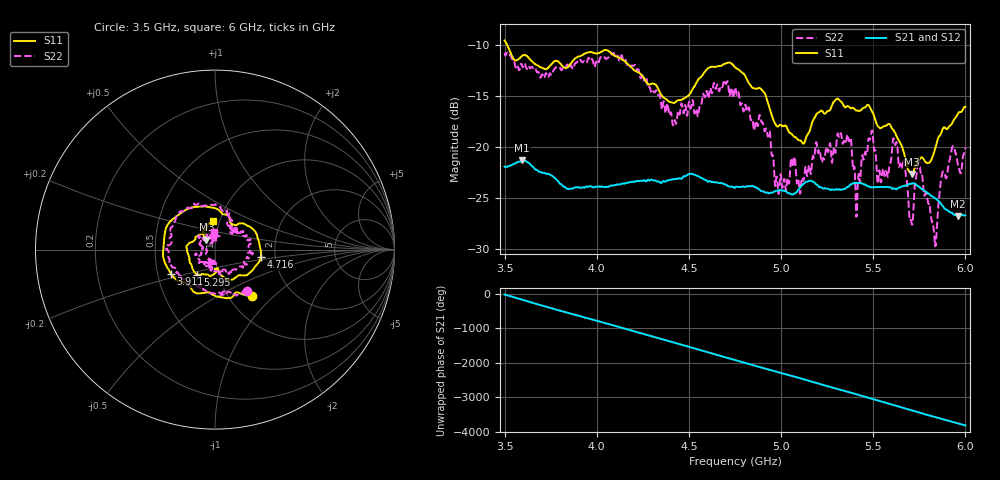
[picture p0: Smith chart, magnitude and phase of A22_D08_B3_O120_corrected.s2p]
! Created with skrf 1.9.0 (http://scikit-rf.org).
# Hz S RI R 50.0
!freq ReS11 ImS11 ReS21 ImS21 ReS12 ImS12 ReS22 ImS22
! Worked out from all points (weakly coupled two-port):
!   1601 points, 3.5 GHz to 6 GHz, reference 50 ohm
!   highest |S21| = -21.33 dB at 3.595 GHz (marker M1); lowest = -26.8 dB at 5.958 GHz (marker M2)
!   lowest |S11| = -22.7 dB at 5.709 GHz (marker M3), VSWR 1.16, Z = 45.1 + j5.05 ohm
!   |S11| at or under -10 dB: 3.514 GHz to end of sweep
!   |S22| runs from -29.8 to -10.8 dB; largest |S21 - S12| = 0.0011
!   S11 on the Smith chart (normalised r, x): 3.5 GHz: 1.28, -0.75; 3.911 GHz: 0.59, -0.17; 4.716 GHz: 1.68, -0.15; 5.295 GHz: 0.79, -0.23; 6 GHz: 0.93, +0.30
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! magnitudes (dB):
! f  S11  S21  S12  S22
! 3.5 GHz  -9.6  -21.9  -21.9  -10.8
! 3.595 GHz  -11.1  -21.3  -21.3  -12.1
! 3.911 GHz  -11.1  -24.0  -24.0  -11.5
! 3.917 GHz  -11.1  -24.0  -24.0  -11.6
! 4.334 GHz  -14.3  -23.4  -23.4  -14.9
! 4.716 GHz  -11.7  -23.9  -23.9  -14.3
! 4.75 GHz  -12.2  -24.0  -23.9  -14.2
! 4.93 GHz  -15.8  -24.5  -24.5  -18.9
! 4.978 GHz  -18.0  -24.3  -24.3  -23.1
! 5.167 GHz  -17.7  -23.4  -23.4  -21.7
! 5.295 GHz  -15.4  -24.2  -24.1  -20.6
! 5.369 GHz  -16.1  -23.8  -23.8  -19.5
! 5.416 GHz  -16.5  -23.6  -23.6  -23.8
! 5.486 GHz  -16.3  -24.0  -23.9  -19.0
! 5.584 GHz  -17.8  -24.0  -23.9  -22.4
! 5.619 GHz  -18.6  -24.1  -24.1  -19.8
! 5.709 GHz  -22.7  -23.6  -23.6  -27.6
! 5.752 GHz  -21.2  -24.0  -24.0  -21.7
! 5.834 GHz  -20.3  -25.0  -25.0  -29.6
! 5.875 GHz  -18.3  -25.8  -25.7  -22.5
! 5.958 GHz  -16.8  -26.8  -26.7  -21.6
! 6 GHz  -16.1  -26.7  -26.7  -20.1
